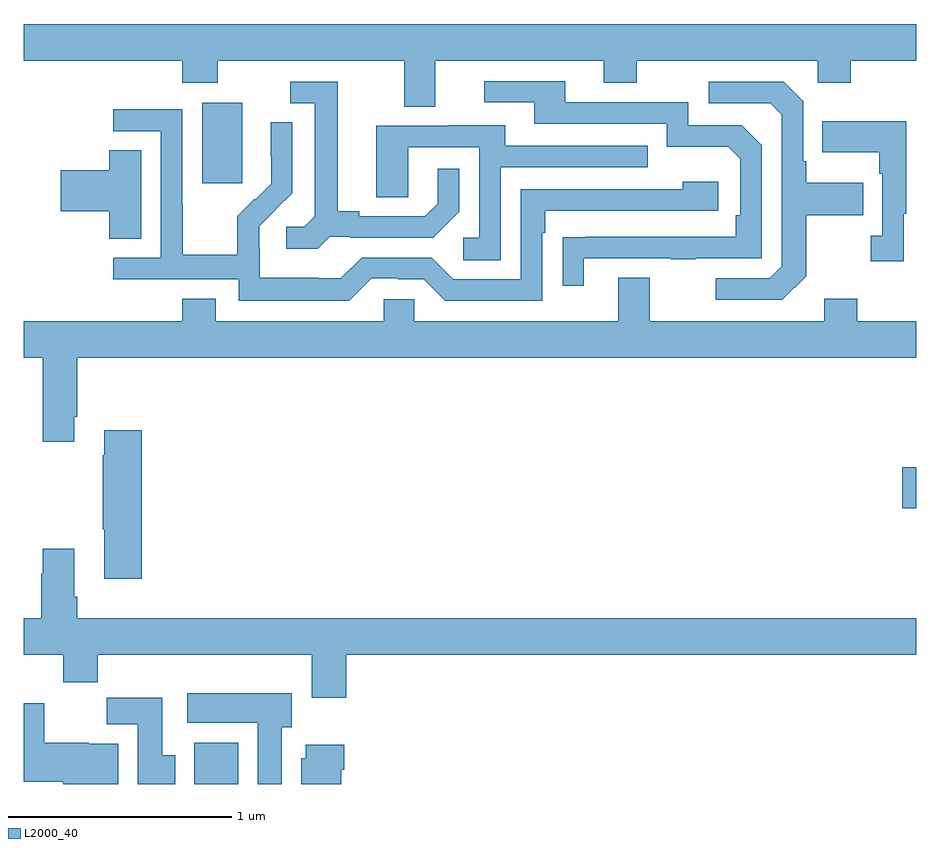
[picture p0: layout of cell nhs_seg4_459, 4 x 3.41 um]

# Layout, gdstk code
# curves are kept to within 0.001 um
import gdstk
lib = gdstk.Library(unit=1e-6, precision=1e-09)
def R(c, l, rs):  # rectangles x0, y0, x1, y1
    for r in rs: c.add(gdstk.rectangle(r[:2], r[2:], *l))
def P(c, l, *ps):  # polygons
    for p in ps: c.add(gdstk.Polygon(p, *l))
L2000_40 = (2000, 40)

nhs_seg4_459 = lib.new_cell('nhs_seg4_459')
R(nhs_seg4_459, L2000_40, [(133.763,802.9,133.96,803.086), (136.938,804.137,137,804.32), (133.799,805.593,133.978,805.954)])
P(nhs_seg4_459, L2000_40, [(134.845,806.144),(135.599,806.144),(135.599,806.045),(135.747,806.045),(135.747,806.144),(136.56,806.144),(136.56,806.045),(136.707,806.045),(136.707,806.144),(137,806.144),(137,806.308),(133,806.308),(133,806.144),(133.709,806.144),(133.709,806.045),(133.869,806.045),(133.869,806.144),(134.705,806.144),(134.705,805.936),(134.845,805.936)],
  [(135.511,805.257),(135.901,805.257),(135.901,805.252),(136.013,805.252),(136.013,805.257),(136.308,805.257),(136.308,805.764),(136.218,805.854),(135.978,805.854),(135.978,805.956),(135.427,805.956),(135.427,806.052),(135.063,806.052),(135.063,805.956),(135.287,805.956),(135.287,805.86),(135.882,805.86),(135.882,805.757),(136.159,805.757),(136.212,805.704),(136.212,805.45),(136.192,805.45),(136.192,805.353),(135.415,805.352),(135.415,805.134),(135.511,805.134)],
  [(134.37,805.353),(134.464,805.353),(134.464,805.35),(134.836,805.35),(134.952,805.466),(134.952,805.66),(134.855,805.66),(134.855,805.503),(134.798,805.446),(134.503,805.446),(134.503,805.469),(134.407,805.469),(134.407,806.049),(134.193,806.049),(134.193,805.953),(134.303,805.953),(134.303,805.445),(134.256,805.398),(134.175,805.398),(134.175,805.301),(134.318,805.301)],
  [(136.507,805.177),(136.507,805.45),(136.763,805.45),(136.763,805.597),(136.507,805.597),(136.507,805.693),(136.494,805.693),(136.494,805.962),(136.407,806.049),(136.071,806.049),(136.071,805.953),(136.347,805.953),(136.398,805.902),(136.398,805.221),(136.344,805.167),(136.101,805.167),(136.101,805.071),(136.401,805.071)],
  [(134.559,805.167),(134.675,805.167),(134.675,805.164),(134.793,805.164),(134.889,805.068),(135.324,805.068),(135.324,805.373),(135.337,805.373),(135.337,805.47),(136.114,805.47),(136.114,805.6),(135.953,805.6),(135.953,805.566),(135.228,805.566),(135.228,805.164),(134.925,805.164),(134.829,805.26),(134.514,805.26),(134.421,805.167),(134.321,805.167),(134.321,805.171),(134.058,805.171),(134.058,805.305),(134.056,805.305),(134.056,805.402),(134.202,805.55),(134.202,805.868),(134.106,805.868),(134.106,805.714),(134.108,805.714),(134.108,805.592),(134.037,805.521),(134.034,805.524),(133.957,805.447),(133.957,805.273),(133.713,805.273),(133.713,805.496),(133.71,805.496),(133.71,805.926),(133.401,805.926),(133.401,805.827),(133.614,805.827),(133.614,805.26),(133.401,805.26),(133.401,805.164),(133.962,805.164),(133.962,805.067),(134.459,805.067)],
  [(136.945,805.457),(136.957,805.457),(136.957,805.873),(136.579,805.873),(136.579,805.733),(136.836,805.733),(136.836,805.637),(136.848,805.637),(136.848,805.358),(136.797,805.358),(136.797,805.245),(136.945,805.245)],
  [(135.138,805.665),(135.797,805.665),(135.797,805.761),(135.157,805.761),(135.157,805.855),(134.903,805.855),(134.903,805.851),(134.579,805.851),(134.579,805.531),(134.724,805.531),(134.724,805.755),(135.042,805.755),(135.042,805.35),(134.97,805.35),(134.97,805.249),(135.138,805.249)],
  [(133.525,805.742),(133.382,805.742),(133.382,805.652),(133.164,805.652),(133.164,805.469),(133.382,805.469),(133.382,805.345),(133.525,805.345)],
  [(137,804.976),(136.737,804.976),(136.737,805.075),(136.589,805.075),(136.589,804.976),(135.805,804.976),(135.805,805.171),(135.665,805.171),(135.665,804.976),(134.751,804.976),(134.751,805.074),(134.613,805.074),(134.613,804.976),(133.861,804.976),(133.861,805.075),(133.709,805.075),(133.709,804.976),(133,804.976),(133,804.812),(133.085,804.812),(133.085,804.435),(133.225,804.435),(133.225,804.547),(133.238,804.547),(133.238,804.812),(137,804.812)],
  [(133.529,804.487),(133.361,804.487),(133.361,804.374),(133.354,804.374),(133.354,804.043),(133.361,804.043),(133.361,803.82),(133.529,803.82)],
  [(134.444,803.48),(137,803.48),(137,803.644),(133.238,803.644),(133.238,803.74),(133.225,803.74),(133.225,803.956),(133.085,803.956),(133.085,803.843),(133.078,803.843),(133.078,803.644),(133,803.644),(133,803.48),(133.175,803.48),(133.175,803.356),(133.331,803.356),(133.331,803.48),(134.291,803.48),(134.291,803.286),(134.444,803.286)],
  [(134.155,803.154),(134.2,803.154),(134.2,803.308),(133.731,803.308),(133.731,803.174),(134.048,803.174),(134.048,802.9),(134.155,802.9)],
  [(133.678,803.028),(133.621,803.028),(133.621,803.287),(133.372,803.287),(133.372,803.168),(133.511,803.168),(133.511,802.9),(133.678,802.9)],
  [(133.423,803.08),(133.29,803.08),(133.29,803.086),(133.09,803.086),(133.09,803.263),(133,803.263),(133,802.91),(133.176,802.91),(133.176,802.9),(133.423,802.9)],
  [(134.422,802.964),(134.435,802.964),(134.435,803.077),(134.264,803.077),(134.264,803.016),(134.243,803.016),(134.243,802.9),(134.422,802.9)])

lib.write_gds('nhs_seg4_459.gds')
